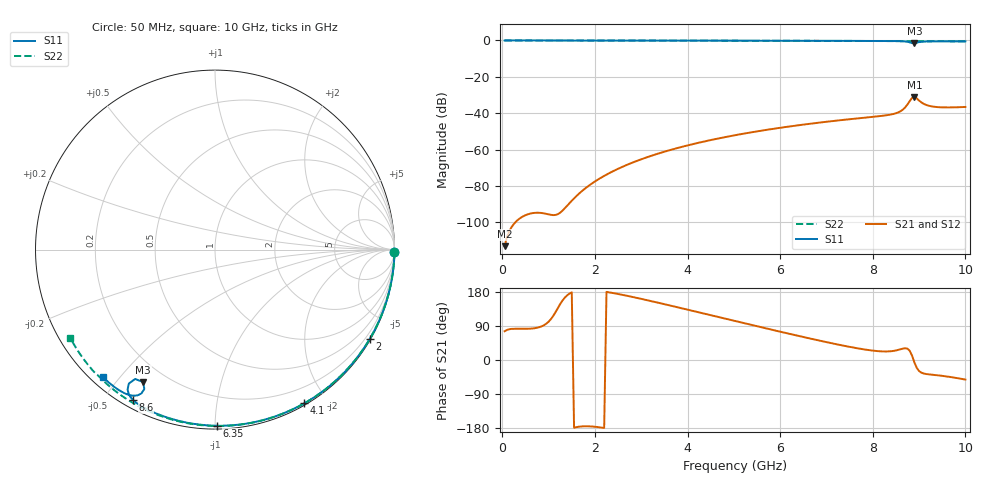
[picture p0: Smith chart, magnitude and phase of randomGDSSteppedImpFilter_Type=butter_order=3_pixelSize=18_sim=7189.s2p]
! freq	dB(S11)	phase(S11)	dB(S12)	phase(S12)
!  dB(S21)	phase(S21)	dB(S22)	phase(S22)
!S-par simulation data
#  GHz  S  DB  R 50
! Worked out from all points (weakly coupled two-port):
!   200 points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, 50 MHz to 10 GHz, reference 50 ohm
!   highest |S21| = -31.10 dB at 8.9 GHz (marker M1); lowest = -113.0 dB at 50 MHz (marker M2)
!   lowest |S11| = -1.5 dB at 8.9 GHz (marker M3), VSWR 11.48, Z = 5.88 - j29.4 ohm
!   |S11| at or under -10 dB: nowhere
!   |S22| runs from -0.5 to 0.0 dB; largest |S21 - S12| = 0
!   S11 on the Smith chart (normalised r, x): 50 MHz: open; 2 GHz: 0.03, -3.73; 4.1 GHz: 0.02, -1.74; 6.35 GHz: 0.02, -1.01; 8.6 GHz: 0.03, -0.59; 10 GHz: 0.03, -0.45
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0.05  -0.00 -0.8  -113.04 75.9  -113.04 75.9  -0.00 -0.9
0.9  -0.02 -13.7  -95.01 91.8  -95.01 91.8  -0.02 -15.4
1.75  -0.03 -26.3  -82.13 -175.0  -82.13 -175.0  -0.04 -29.7
1.85  -0.04 -27.8  -80.15 -174.9  -80.15 -174.9  -0.04 -31.3
2  -0.04 -30.0  -77.49 -176.2  -77.49 -176.2  -0.04 -33.8
2.3  -0.04 -34.4  -73.03 178.7  -73.03 178.7  -0.05 -38.8
2.6  -0.05 -38.8  -69.36 171.8  -69.36 171.8  -0.06 -43.6
3.4  -0.07 -50.2  -61.89 150.2  -61.89 150.2  -0.08 -56.4
4.1  -0.08 -59.9  -57.05 130.0  -57.05 130.0  -0.09 -67.2
5.05  -0.11 -72.7  -51.95 102.2  -51.95 102.2  -0.13 -81.4
6.35  -0.16 -89.4  -46.74 64.8  -46.74 64.8  -0.18 -99.8
6.7  -0.18 -93.8  -45.59 55.2  -45.59 55.2  -0.20 -104.7
8.35  -0.31 -114.6  -40.89 22.7  -40.89 22.7  -0.33 -126.8
8.6  -0.41 -118.7  -38.88 28.3  -38.88 28.3  -0.36 -130.0
8.7  -0.56 -120.9  -36.77 31.0  -36.77 31.0  -0.37 -131.3
8.8  -1.05 -122.8  -33.21 24.0  -33.21 24.0  -0.38 -132.6
8.85  -1.45 -121.6  -31.54 10.9  -31.54 10.9  -0.38 -133.2
8.9  -1.52 -118.5  -31.10 -6.6  -31.10 -6.6  -0.37 -133.9
9.05  -0.73 -118.0  -34.03 -33.4  -34.03 -33.4  -0.38 -135.9
9.25  -0.50 -121.5  -36.13 -38.5  -36.13 -38.5  -0.41 -138.6
9.5  -0.46 -125.0  -36.76 -41.8  -36.76 -41.8  -0.44 -141.9
10  -0.48 -131.3  -36.54 -51.7  -36.54 -51.7  -0.50 -148.5
